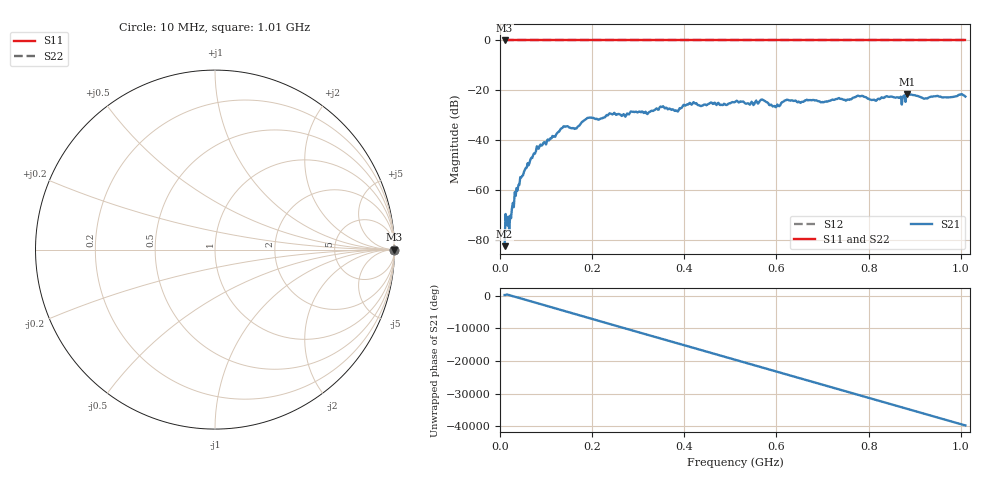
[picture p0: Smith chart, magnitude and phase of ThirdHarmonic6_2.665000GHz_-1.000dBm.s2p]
! 8/17/2025 6:10:11 AM
! C:\ANRITSUVNA\TEMP\TEMP.S2P
! CHANNEL.1
! TR.MEASUREMENT
! RAW.DATA
! RF.CORRECTION.OFF
! AVERAGING.OFF
! IF.BANDWIDTH: 5KHZ
! SWEEPTYPE:  FREQ.SWEEP(Linear)
! Reference Plane Port Info
! PORT:  PORT1  PORT2
! DISTANCE:  0  m  0  m
! TIME:  0  s  0  s
! PHASE.OFFSET:  0  deg.  0  deg.
! LOSS:  0  dB  0  dB
! REF.LOSS:  0  dB  0  dB
! REF.FREQ:  0  Hz  0  Hz
! Power Info
! POWER:  -20  dBm  -20  dBm
! EFF.POWER:  -20  dBm  -20  dBm
! SOURCE.ATTEN:  0  dB  0  dB
! TEST.ATTEN:  0  dB  0  dB
# GHZ S RI R 50.0
! FREQ.GHZ  S11RE  S11IM  S21RE  S21IM  S12RE  S12IM  S22RE  S22IM
!; PortSelection: Port_12
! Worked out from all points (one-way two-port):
!   501 points, 10 MHz to 1.01 GHz, reference 50 ohm
!   highest |S21| = -21.48 dB at 884 MHz (marker M1); lowest = -82.5 dB at 10 MHz (marker M2)
!   lowest |S11| = 0.0 dB at 10 MHz (marker M3)
!   |S11| at or under -10 dB: nowhere
!   |S22| runs from 0.0 to 0.0 dB; largest |S21 - S12| = 1.1
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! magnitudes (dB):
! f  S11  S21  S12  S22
! 10 MHz  0.0  -82.5  0.0  0.0
! 14 MHz  0.0  -73.8  0.0  0.0
! 20 MHz  0.0  -76.4  0.0  0.0
! 36 MHz  0.0  -59.2  0.0  0.0
! 44 MHz  0.0  -54.8  0.0  0.0
! 78 MHz  0.0  -44.4  0.0  0.0
! 136 MHz  0.0  -35.0  0.0  0.0
! 164 MHz  0.0  -35.3  0.0  0.0
! 178 MHz  0.0  -32.6  0.0  0.0
! 194 MHz  0.0  -30.9  0.0  0.0
! 322 MHz  0.0  -29.0  0.0  0.0
! 344 MHz  0.0  -27.8  0.0  0.0
! 382 MHz  0.0  -28.0  0.0  0.0
! 416 MHz  0.0  -25.8  0.0  0.0
! 510 MHz  0.0  -24.7  0.0  0.0
! 570 MHz  0.0  -23.8  0.0  0.0
! 596 MHz  0.0  -26.3  0.0  0.0
! 622 MHz  0.0  -23.8  0.0  0.0
! 678 MHz  0.0  -23.9  0.0  0.0
! 844 MHz  0.0  -22.6  0.0  0.0
! 884 MHz  0.0  -21.5  0.0  0.0
! 1.01 GHz  0.0  -22.5  0.0  0.0
